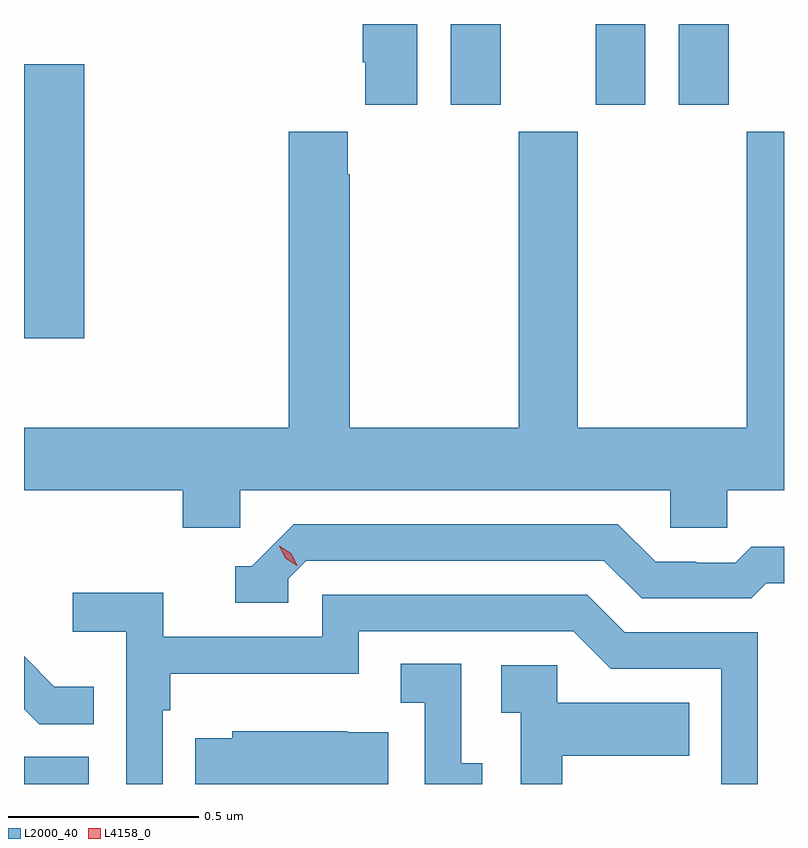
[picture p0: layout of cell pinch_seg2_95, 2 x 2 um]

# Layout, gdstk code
import gdstk
lib = gdstk.Library(unit=1e-6, precision=1e-09)
def R(c, l, rs):  # rectangles x0, y0, x1, y1
    for r in rs: c.add(gdstk.rectangle(r[:2], r[2:], *l))
def P(c, l, *ps):  # polygons
    for p in ps: c.add(gdstk.Polygon(p, *l))
L2000_40 = (2000, 40)
L4158_0 = (4158, 0)

pinch_seg2_95 = lib.new_cell('pinch_seg2_95')
R(pinch_seg2_95, L2000_40, [(1042.009,633.543,1042.18,633.615), (1042.009,634.716,1042.168,635.437), (1043.132,635.331,1043.263,635.543), (1043.513,635.331,1043.644,635.543), (1043.732,635.331,1043.863,635.543)])
P(pinch_seg2_95, L2000_40, [(1043.044,635.543),(1042.901,635.543),(1042.901,635.443),(1042.907,635.443),(1042.907,635.331),(1043.044,635.331)],
  [(1042.578,634.316),(1043.709,634.316),(1043.709,634.218),(1043.859,634.218),(1043.859,634.316),(1044.009,634.316),(1044.009,635.26),(1043.911,635.26),(1043.911,634.48),(1043.466,634.48),(1043.466,635.26),(1043.311,635.26),(1043.311,634.48),(1042.866,634.48),(1042.866,635.147),(1042.861,635.147),(1042.861,635.26),(1042.706,635.26),(1042.706,634.48),(1042.009,634.48),(1042.009,634.316),(1042.427,634.316),(1042.427,634.218),(1042.578,634.218)],
  [(1042.704,634.083),(1042.752,634.131),(1043.535,634.131),(1043.634,634.032),(1043.923,634.032),(1043.962,634.071),(1044.009,634.071),(1044.009,634.168),(1043.923,634.168),(1043.881,634.125),(1043.778,634.125),(1043.778,634.128),(1043.671,634.128),(1043.572,634.227),(1042.719,634.227),(1042.608,634.116),(1042.565,634.116),(1042.565,634.02),(1042.704,634.02)],
  [(1042.374,633.737),(1042.394,633.737),(1042.394,633.833),(1042.89,633.833),(1042.89,633.945),(1043.454,633.945),(1043.553,633.846),(1043.844,633.846),(1043.844,633.543),(1043.94,633.543),(1043.94,633.942),(1043.59,633.942),(1043.491,634.041),(1042.794,634.041),(1042.794,633.93),(1042.376,633.93),(1042.376,634.046),(1042.137,634.046),(1042.137,633.944),(1042.278,633.944),(1042.278,633.543),(1042.374,633.543)],
  [(1042.193,633.799),(1042.089,633.799),(1042.009,633.879),(1042.009,633.74),(1042.049,633.7),(1042.193,633.7)],
  [(1043.215,633.597),(1043.16,633.597),(1043.16,633.86),(1043.001,633.86),(1043.001,633.757),(1043.064,633.757),(1043.064,633.543),(1043.215,633.543)],
  [(1043.425,633.617),(1043.759,633.617),(1043.759,633.757),(1043.412,633.757),(1043.412,633.855),(1043.265,633.855),(1043.265,633.731),(1043.316,633.731),(1043.316,633.543),(1043.425,633.543)],
  [(1042.967,633.679),(1042.859,633.679),(1042.859,633.682),(1042.557,633.682),(1042.557,633.664),(1042.459,633.664),(1042.459,633.543),(1042.967,633.543)])
P(pinch_seg2_95, L4158_0, [(1042.728,634.117),(1042.697,634.137),(1042.681,634.169),(1042.681,634.17),(1042.681,634.17),(1042.712,634.15),(1042.728,634.118),(1042.728,634.117)])

lib.write_gds('pinch_seg2_95.gds')
